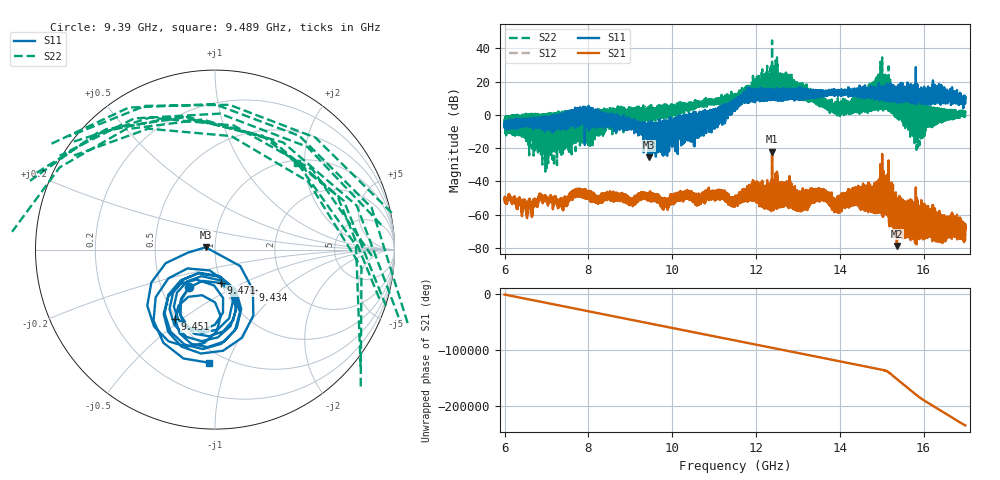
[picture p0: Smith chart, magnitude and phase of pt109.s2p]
#  HZ  S  RI  R  50.00
! Rohde & Schwarz Vector Network Analyzer
! Rohde-Schwarz,ZNA67-2Port,1332450062101215,3.01
! Created: UTC 10/19/2026, 2:42:58 PM
! freq[Hz]  re:S11  im:S11  re:S21  im:S21  re:S12  im:S12  re:S22  im:S22
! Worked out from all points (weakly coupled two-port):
!   11001 points, 6 GHz to 17 GHz, reference 50 ohm
!   highest |S21| = -22.20 dB at 12.38 GHz (marker M1); lowest = -78.8 dB at 15.37 GHz (marker M2)
!   lowest |S11| = -25.5 dB at 9.436 GHz (marker M3), VSWR 1.11, Z = 45.1 + j1.17 ohm
!   |S11| at or under -10 dB: 9.316655 GHz to 9.32106 GHz (4.405 MHz wide, 0.0473 % of centre); 9.385832 GHz to 9.390811 GHz (4.978 MHz wide, 0.053 % of centre); 9.433915 GHz to 9.438307 GHz (4.391 MHz wide, 0.0465 % of centre) (the widest 3 of 128)
!   |S22| runs from -34.2 to 44.7 dB; largest |S21 - S12| = 0.0056
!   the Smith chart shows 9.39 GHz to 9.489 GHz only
!   S11 on the Smith chart (normalised r, x): 9.39 GHz: 0.69, -0.31; 9.434 GHz: 1.35, -0.67; 9.451 GHz: 0.49, -0.47; 9.471 GHz: 0.99, -0.38; 9.489 GHz: 0.41, -0.86
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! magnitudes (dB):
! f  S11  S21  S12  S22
! 6 GHz  -5.3  -51.0  -50.9  -2.4
! 6.552 GHz  -4.8  -55.2  -55.2  -9.2
! 6.851 GHz  -5.0  -49.8  -49.8  -2.0
! 7.416 GHz  -2.6  -50.8  -50.6  -7.0
! 7.834 GHz  -4.8  -48.8  -48.5  -12.8
! 8.225 GHz  1.6  -51.0  -50.6  3.5
! 9.39 GHz  -11.8  -49.3  -49.3  4.2
! 9.434 GHz  -10.2  -50.4  -50.4  0.7
! 9.436 GHz  -25.5  -48.8  -48.8  3.2
! 9.451 GHz  -7.0  -46.7  -47.0  3.3
! 9.471 GHz  -14.5  -50.2  -50.2  2.9
! 9.489 GHz  -4.0  -50.2  -50.3  -3.5
! 9.667 GHz  -7.4  -51.3  -51.4  -1.2
! 11.5 GHz  3.6  -53.5  -53.1  9.1
! 11.92 GHz  8.6  -43.3  -43.4  18.8
! 12.38 GHz  9.8  -22.2  -22.3  44.7
! 13.33 GHz  11.2  -50.2  -50.3  10.0
! 13.99 GHz  12.4  -53.8  -54.0  2.9
! 14.32 GHz  12.6  -53.3  -53.0  2.5
! 15.17 GHz  10.6  -59.5  -59.6  3.7
! 15.37 GHz  10.5  -78.8  -79.0  -0.3
! 17 GHz  10.3  -68.8  -69.3  1.4
